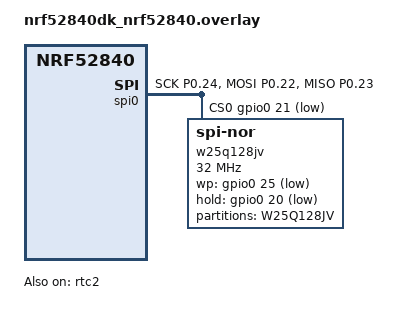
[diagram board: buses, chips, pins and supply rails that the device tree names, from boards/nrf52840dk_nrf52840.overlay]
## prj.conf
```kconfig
# Logging
CONFIG_LOG=y
CONFIG_LOG_MODE_IMMEDIATE=y

# Float printing
CONFIG_NEWLIB_LIBC=y
CONFIG_FPU=y
CONFIG_CBPRINTF_FP_SUPPORT=y

# RTT Console
CONFIG_USE_SEGGER_RTT=y
CONFIG_RTT_CONSOLE=y
CONFIG_UART_CONSOLE=n

# Core
CONFIG_FLASH=y
CONFIG_FLASH_MAP=y
CONFIG_FLASH_PAGE_LAYOUT=y

# LittleFS Filesystem
CONFIG_FILE_SYSTEM=y
CONFIG_FILE_SYSTEM_LITTLEFS=y

CONFIG_SPI=y
CONFIG_SPI_NOR=y
CONFIG_SPI_NOR_FLASH_LAYOUT_PAGE_SIZE=4096

CONFIG_NORDIC_QSPI_NOR=y
# CONFIG_PM_EXTERNAL_FLASH_MCUBOOT_SECONDARY=n

CONFIG_SETTINGS=y
# CONFIG_SETTINGS_FS=y
# CONFIG_SETTINGS_FS_DIR="/lfs/settings"
# CONFIG_SETTINGS_FS_FILE="/lfs/settings/run"

# Zephyr basic
CONFIG_LOG=y
CONFIG_NEWLIB_LIBC=y
CONFIG_NEWLIB_LIBC_FLOAT_PRINTF=y

# Hardware features (optional but useful)
CONFIG_GPIO=y
CONFIG_ADC=y
CONFIG_PINCTRL=y



# Stack sizes (adjust if needed)
CONFIG_MAIN_STACK_SIZE=4096
CONFIG_HEAP_MEM_POOL_SIZE=16384
CONFIG_SYSTEM_WORKQUEUE_STACK_SIZE=4096
CONFIG_ISR_STACK_SIZE=1024

CONFIG_FILE_SYSTEM_MKFS=y

CONFIG_PM_PARTITION_REGION_LITTLEFS_EXTERNAL=y
CONFIG_PM_PARTITION_REGION_SETTINGS_STORAGE_EXTERNAL=y
CONFIG_PM_PARTITION_REGION_NVS_STORAGE_EXTERNAL=y


CONFIG_PM_OVERRIDE_EXTERNAL_DRIVER_CHECK=y
# CONFIG_PM_EXTERNAL_FLASH_HAS_DRIVER=y
```

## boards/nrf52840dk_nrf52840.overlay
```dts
/ {
    chosen {
        nordic,pm-ext-flash = &w25q128jv;
    };
};

// &pinctrl {
//     qspi_default: qspi_default {
//         group1 {
//             psels = <NRF_PSEL(QSPI_SCK, 0, 24)>,
//                     <NRF_PSEL(QSPI_IO0, 0, 22)>,
//                     <NRF_PSEL(QSPI_IO1, 0, 23)>,
//                     <NRF_PSEL(QSPI_IO2, 0, 25)>,
//                     <NRF_PSEL(QSPI_IO3, 0, 20)>,
//                     <NRF_PSEL(QSPI_CSN, 0, 21)>;
//             nordic,drive-mode = <NRF_DRIVE_H0H1>;
//         };
//     };

//     qspi_sleep: qspi_sleep {
//         group1 {
//             psels = <NRF_PSEL(QSPI_SCK, 0, 24)>,
//                     <NRF_PSEL(QSPI_IO0, 0, 22)>,
//                     <NRF_PSEL(QSPI_IO1, 0, 23)>,
//                     <NRF_PSEL(QSPI_IO2, 0, 25)>,
//                     <NRF_PSEL(QSPI_IO3, 0, 20)>;
//             low-power-enable;
//         };
//         group2 {
//             psels = <NRF_PSEL(QSPI_CSN, 0, 21)>;
//             low-power-enable;
//             bias-pull-up;
//         };
//     };
// };

&pinctrl {
    spi0_default: spi0_default {
        group1 {
            psels = <NRF_PSEL(SPIM_SCK, 0, 24)>,
                    <NRF_PSEL(SPIM_MOSI, 0, 22)>,
                    <NRF_PSEL(SPIM_MISO, 0, 23)>;
        };
    };
    spi0_sleep: spi0_sleep {
        group1 {
            psels = <NRF_PSEL(SPIM_SCK, 0, 24)>,
                    <NRF_PSEL(SPIM_MOSI, 0, 22)>,
                    <NRF_PSEL(SPIM_MISO, 0, 23)>;
            low-power-enable;
        };
    };
};

// &qspi {
//     status = "okay";
//     pinctrl-0 = <&qspi_default>;
//     pinctrl-1 = <&qspi_sleep>;
//     pinctrl-names = "default", "sleep";

//     w25q128jv: qspi_flash@0 {
//         compatible = "nordic,qspi-nor";
//         reg = <0>;
//         writeoc = "pp4io";
//         readoc = "read4io";
//         sck-frequency = <32000000>;
//         jedec-id = [ef 40 18];
//         size = <0x1000000>;    // 16 MB
//         has-dpd;
//         t-enter-dpd = <3000>;  // 3ms
//         t-exit-dpd = <30000>;  // 30ms
//         // address-size = <24>;
//         // erase-size = <4096>;
//         // page-size = <256>;
//     };
// };


&spi0 {
    status = "okay";
    pinctrl-0 = <&spi0_default>;
    pinctrl-1 = <&spi0_sleep>;
    pinctrl-names = "default", "sleep";
    cs-gpios = <&gpio0 21 GPIO_ACTIVE_LOW>;

    w25q128jv: w25q128jv@0 {
        compatible = "jedec,spi-nor";
        reg = <0>;
        spi-max-frequency = <32000000>; // 32MHz
        jedec-id = [ef 40 18];
        // size = <0x8000000>; // 16MB
        wp-gpios = <&gpio0 25 GPIO_ACTIVE_LOW>;
        hold-gpios = <&gpio0 20 GPIO_ACTIVE_LOW>;
    };
};


&w25q128jv {
    size = <0x8000000>; // 128 Mbit (16 MB), interpreted as bits by the driver
    partitions {
        compatible = "fixed-partitions";
        #address-cells = <1>;
        #size-cells = <1>;

        littlefs_storage: partition@0 {
            label = "W25Q128JV";
            reg = <0x00000000 0x01000000>; /* 16MB full size */
        };
    };
};

/* Disable unused flash */
&mx25r64 {
    status = "disabled";
};

&rtc2 {
    status = "okay";
};
```

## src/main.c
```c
#include <zephyr/kernel.h>
#include <zephyr/logging/log.h>
#include <zephyr/fs/fs.h>
#include <zephyr/fs/littlefs.h>
#include <zephyr/drivers/flash.h>
#include <zephyr/storage/flash_map.h>
#include <stdio.h>

LOG_MODULE_REGISTER(main, LOG_LEVEL_INF);

const static struct device *flash_dev = DEVICE_DT_GET(DT_NODELABEL(w25q128jv));

// Declare default LittleFS config for partition "storagefs"
// FS_LITTLEFS_DECLARE_DEFAULT_CONFIG(littlefs_storage);

// static struct fs_mount_t fs_mnt = {
//     .type = FS_LITTLEFS,
//     .mnt_point = "/lfs",
//     .fs_data = &littlefs_storage,
//     .storage_dev = (void *)FIXED_PARTITION_ID(littlefs_storage),
// };

FS_LITTLEFS_DECLARE_DEFAULT_CONFIG(storage);

static struct fs_mount_t fs_mnt = {
    .type = FS_LITTLEFS,
    .mnt_point = "/lfs",
    .fs_data = &storage,
    .storage_dev = (void *)FIXED_PARTITION_ID(littlefs_storage),
};

static void append_to_file(const char *filename, const char *data)
{
    struct fs_file_t file;
    char path[128];

    snprintf(path, sizeof(path), "/lfs/logs/%s", filename);
    fs_file_t_init(&file);

    int rc = fs_open(&file, path, FS_O_CREATE | FS_O_APPEND | FS_O_WRITE);
    if (rc < 0) {
        LOG_ERR("Failed to open %s for writing (%d)", path, rc);
        return;
    }

    rc = fs_write(&file, data, strlen(data));
    if (rc < 0) {
        LOG_ERR("Write failed (%d)", rc);
    } else {
        LOG_INF("Appended to %s", path);
    }

    fs_close(&file);
}

static void read_file(const char *filename)
{
    struct fs_file_t file;
    char path[128], buf[128];
    ssize_t len;

    snprintf(path, sizeof(path), "/lfs/logs/%s", filename);
    fs_file_t_init(&file);

    int rc = fs_open(&file, path, FS_O_READ);
    if (rc < 0) {
        LOG_ERR("Failed to open %s for reading (%d)", path, rc);
        return;
    }

    len = fs_read(&file, buf, sizeof(buf) - 1);
    if (len > 0) {
        buf[len] = '\0';
        LOG_INF("Read from %s: %s", path, buf);
    } else {
        LOG_ERR("Read failed or empty");
    }

    fs_close(&file);
}

static void list_files(const char *dirpath)
{
    struct fs_dir_t dir;
    struct fs_dirent entry;
    fs_dir_t_init(&dir);

    int rc = fs_opendir(&dir, dirpath);
    if (rc < 0) {
        LOG_ERR("Failed to open dir %s (%d)", dirpath, rc);
        return;
    }

    LOG_INF("Files in %s:", dirpath);

    while (fs_readdir(&dir, &entry) == 0 && entry.name[0] != 0) {
        LOG_INF("  %c %s (%u bytes)",
                entry.type == FS_DIR_ENTRY_FILE ? 'F' : 'D',
                entry.name, entry.size);
    }

    fs_closedir(&dir);
}

void main(void)
{
    int rc;
    //  size_t page_size = flash_get_page_size(flash_dev);
    size_t page_count = flash_get_page_count(flash_dev);
    struct flash_pages_info info;
    int ret = flash_get_page_info_by_idx(flash_dev, 0, &info);

    if (ret == 0) {
        size_t flash_size = page_count * info.size;
        LOG_INF("External flash size: %zu bytes\n", flash_size);
    } else {
        LOG_ERR("Failed to get page info, error: %d\n", ret);
    }
 
    //     LOG_INF("Erasing flash partition...");
    // erase_full_flash_partition();
    LOG_INF("Mounting LittleFS...");
    rc = fs_mount(&fs_mnt);
    if (rc < 0) {
        LOG_ERR("Mount failed: %d", rc);
        return;
    }

    LOG_INF("Mounted LittleFS at %s", fs_mnt.mnt_point);

    // Ensure directory exists
    rc = fs_mkdir("/lfs/logs");
    if (rc < 0 && rc != -EEXIST) {
        LOG_ERR("mkdir failed: %d", rc);
    } else {
        LOG_INF("Directory /lfs/logs is ready.");
    }

    // Append sample data
    append_to_file("data.txt", "Hello from Zephyr!\n");

    // Read the file
    read_file("data.txt");

    // List files in logs dir
    list_files("/lfs/logs");
}

void erase_full_flash_partition(void)
{
    const struct flash_area *fa;
    const struct device *flash_dev;
    int rc;
    off_t offset = 0;
    size_t erase_size = 4096; // W25Q128JV sector size = 4KB

    // Open your partition (example: storagefs)
    rc = flash_area_open(FIXED_PARTITION_ID(littlefs_storage), &fa);
    if (rc < 0) {
        LOG_ERR("Failed to open flash area (%d)", rc);
        return;
    }

    flash_dev = flash_area_get_device(fa);
    if (!flash_dev) {
        LOG_ERR("Failed to get flash device");
        flash_area_close(fa);
        return;
    }

    LOG_INF("Erasing flash area: Offset=0x%08x, Size=%u bytes", (uint32_t)fa->fa_off, (uint32_t)fa->fa_size);

    // Erase block-by-block
   size_t total_erased = 0;
size_t sector_count = fa->fa_size / erase_size;

LOG_INF("Starting flash erase: %u sectors of %u bytes each (total: %u bytes)", 
        sector_count, erase_size, (uint32_t)fa->fa_size);

while (offset < fa->fa_size) {
    rc = flash_erase(flash_dev, fa->fa_off + offset, erase_size);
    if (rc != 0) {
        LOG_ERR("Failed to erase at 0x%08x (err %d)", (uint32_t)(fa->fa_off + offset), rc);
        flash_area_close(fa);
        return;
    }

    total_erased += erase_size;
    LOG_INF("Erased sector at 0x%08x (%u/%u bytes, %.2f%% complete)",
            (uint32_t)(fa->fa_off + offset),
            total_erased, (uint32_t)fa->fa_size,
            ((float)total_erased / fa->fa_size) * 100.0f);

    offset += erase_size;
}

LOG_INF("Flash erase complete: %u bytes erased successfully.", (uint32_t)total_erased);

    flash_area_close(fa);

    LOG_INF("Flash erase completed successfully!");
}
```
